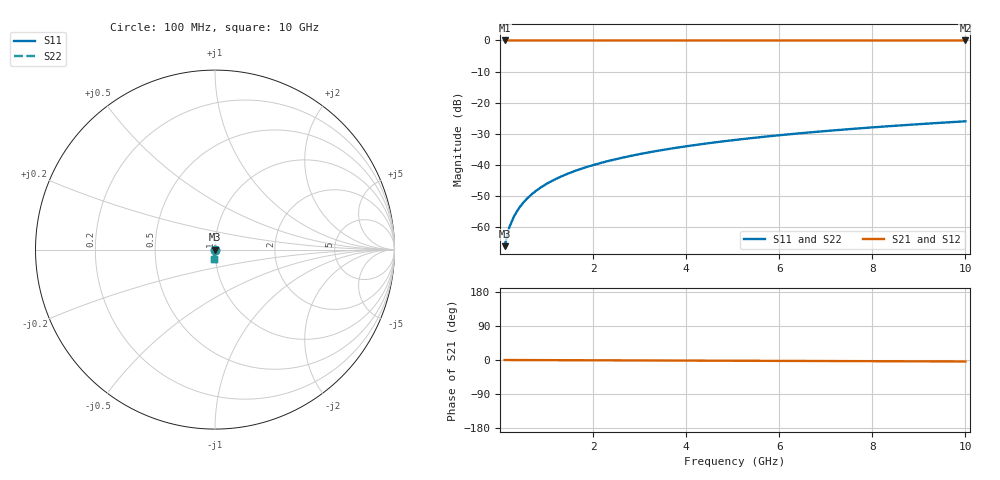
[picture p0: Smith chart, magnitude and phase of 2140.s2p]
# Hz S RI R 50.00
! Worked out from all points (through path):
!   100 points, 100 MHz to 10 GHz, reference 50 ohm
!   highest |S21| = 0.00 dB at 100 MHz (marker M1); lowest = 0.0 dB at 10 GHz (marker M2)
!   lowest |S11| = -66.1 dB at 100 MHz (marker M3), VSWR 1.00, Z = 50 - j0.0497 ohm
!   |S11| at or under -10 dB: start of sweep to end of sweep
!   |S22| runs from -66.1 to -26.0 dB; largest |S21 - S12| = 0
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1e8  2.62e-05 -0.000497  1 -0.000674  1 -0.000674  2.62e-05 -0.000497
2e8  2.49e-05 -0.000995  1 -0.00135  1 -0.00135  2.49e-05 -0.000995
3e8  2.27e-05 -0.00149  1 -0.00202  1 -0.00202  2.27e-05 -0.00149
4e8  1.99e-05 -0.00199  1 -0.0027  1 -0.0027  1.99e-05 -0.00199
5e8  1.65e-05 -0.00249  1 -0.00337  1 -0.00337  1.65e-05 -0.00249
6e8  1.23e-05 -0.00298  1 -0.00405  1 -0.00405  1.23e-05 -0.00298
7e8  7.43e-06 -0.00348  0.9999 -0.00472  0.9999 -0.00472  7.43e-06 -0.00348
8e8  1.9e-06 -0.00398  0.9999 -0.0054  0.9999 -0.0054  1.9e-06 -0.00398
9e8  -4.31e-06 -0.00448  0.9999 -0.00607  0.9999 -0.00607  -4.31e-06 -0.00448
1.1e9  -1.88e-05 -0.00547  0.9999 -0.00742  0.9999 -0.00742  -1.88e-05 -0.00547
1.4e9  -4.55e-05 -0.00697  0.9999 -0.00945  0.9999 -0.00945  -4.55e-05 -0.00697
1.8e9  -9.07e-05 -0.00896  0.9998 -0.0122  0.9998 -0.0122  -9.07e-05 -0.00896
2.1e9  -0.000132 -0.0105  0.9998 -0.0142  0.9998 -0.0142  -0.000132 -0.0105
2.5e9  -0.000196 -0.0125  0.9997 -0.0169  0.9997 -0.0169  -0.000196 -0.0125
2.9e9  -0.000271 -0.0145  0.9997 -0.0196  0.9997 -0.0196  -0.000271 -0.0145
3.4e9  -0.00038 -0.017  0.9995 -0.023  0.9995 -0.023  -0.00038 -0.017
4.2e9  -0.000591 -0.021  0.9993 -0.0284  0.9993 -0.0284  -0.000591 -0.021
5.1e9  -0.000882 -0.0255  0.999 -0.0346  0.999 -0.0346  -0.000882 -0.0255
5.9e9  -0.00119 -0.0295  0.9987 -0.04  0.9987 -0.04  -0.00119 -0.0295
6.7e9  -0.00154 -0.0336  0.9983 -0.0455  0.9983 -0.0455  -0.00154 -0.0336
8.4e9  -0.00243 -0.0421  0.9974 -0.0572  0.9974 -0.0572  -0.00243 -0.0421
1e10  -0.00346 -0.0502  0.9963 -0.0682  0.9963 -0.0682  -0.00346 -0.0502
